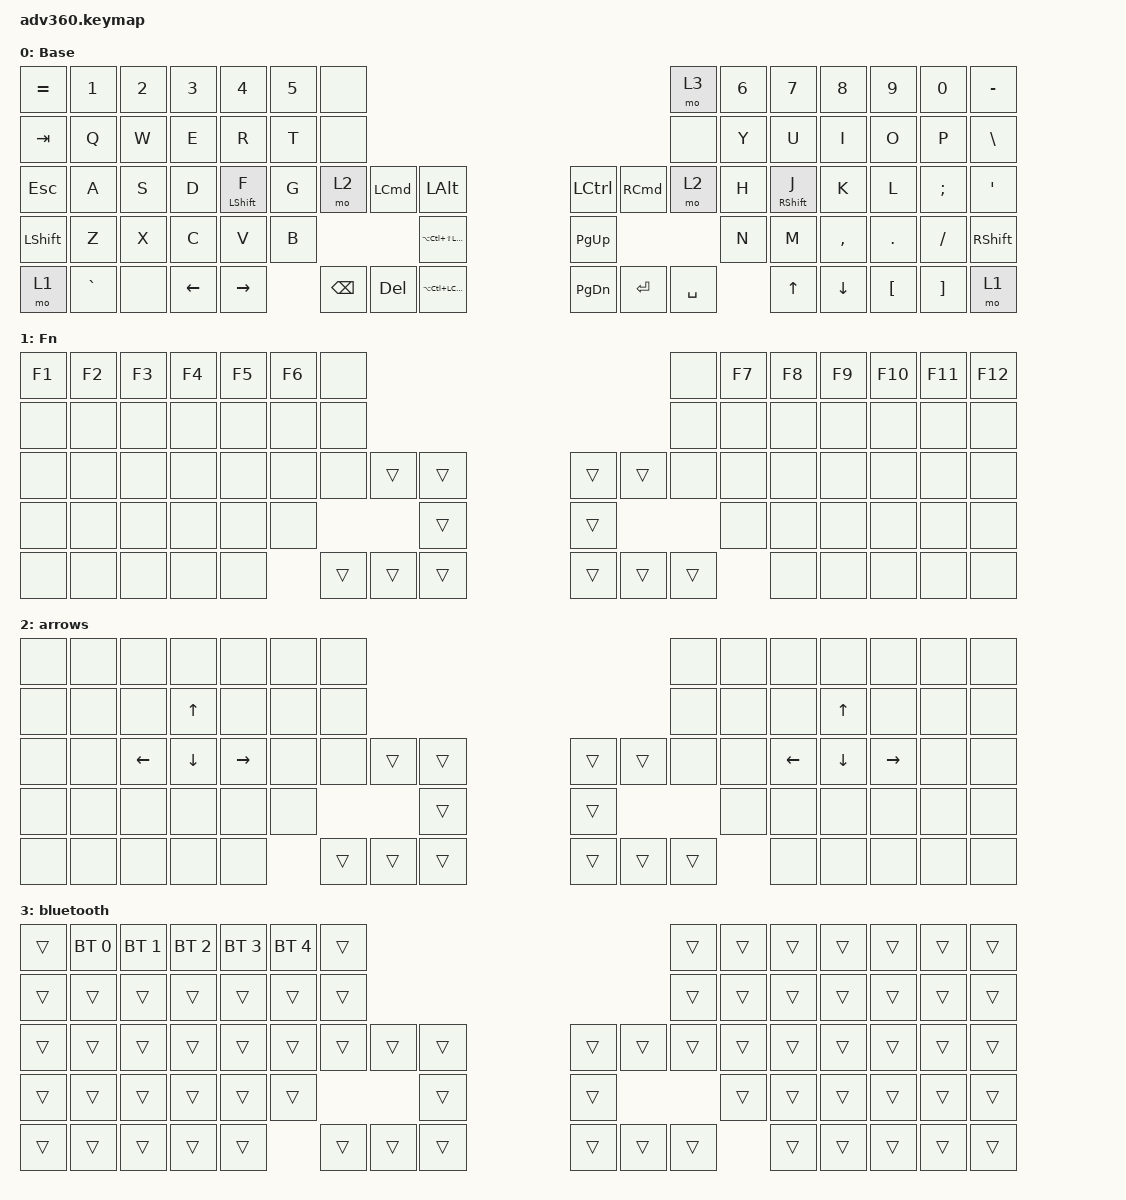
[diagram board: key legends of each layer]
#include <dt-bindings/zmk/stp.h>
#include <behaviors.dtsi>
#include <dt-bindings/zmk/bt.h>
#include <dt-bindings/zmk/keys.h>

/ {
    behaviors {
        #include "macros.dtsi"
      #include "version.dtsi"

        hm: homerow_mods {
            compatible = "zmk,behavior-hold-tap";
            label = "HOMEROW_MODS";
            #binding-cells = <2>;
            tapping-term-ms = <200>;
            quick_tap_ms = <175>;
            flavor = "tap-preferred";
            bindings = <&kp>, <&kp>;
        };
    };

    keymap {
        compatible = "zmk,keymap";

        normal {
            display-name = "Base";
            bindings = <
&kp EQUAL  &kp N1     &kp N2  &kp N3    &kp N4            &kp N5  &none                                                                                          &mo 3      &kp N6  &kp N7             &kp N8     &kp N9    &kp N0    &kp MINUS
&kp TAB    &kp Q      &kp W   &kp E     &kp R             &kp T   &none                                                                                          &none      &kp Y   &kp U              &kp I      &kp O     &kp P     &kp BSLH
&kp ESC    &kp A      &kp S   &kp D     &hm LEFT_SHIFT F  &kp G   &mo 2     &kp LEFT_COMMAND  &kp LALT                      &kp LEFT_CONTROL  &kp RIGHT_COMMAND  &mo 2      &kp H   &hm RIGHT_SHIFT J  &kp K      &kp L     &kp SEMI  &kp SQT
&kp LSHFT  &kp Z      &kp X   &kp C     &kp V             &kp B                               &kp LA(LC(LS(LEFT_GUI)))      &kp PG_UP                                       &kp N   &kp M              &kp COMMA  &kp DOT   &kp FSLH  &kp RSHFT
&mo 1      &kp GRAVE  &none   &kp LEFT  &kp RIGHT                 &kp BSPC  &kp DEL           &kp LA(LC(LEFT_COMMAND))      &kp PG_DN         &kp ENTER          &kp SPACE          &kp UP             &kp DOWN   &kp LBKT  &kp RBKT  &mo 1
            >;
        };

        fn {
            display-name = "Fn";
            bindings = <
&kp F1  &kp F2  &kp F3  &kp F4  &kp F5  &kp F6  &none                                       &none   &kp F7  &kp F8  &kp F9  &kp F10  &kp F11  &kp F12
&none   &none   &none   &none   &none   &none   &none                                       &none   &none   &none   &none   &none    &none    &none
&none   &none   &none   &none   &none   &none   &none   &trans  &trans      &trans  &trans  &none   &none   &none   &none   &none    &none    &none
&none   &none   &none   &none   &none   &none                   &trans      &trans                  &none   &none   &none   &none    &none    &none
&none   &none   &none   &none   &none           &trans  &trans  &trans      &trans  &trans  &trans          &none   &none   &none    &none    &none
            >;
        };

        arrows {
            bindings = <
&none  &none  &none           &none           &none            &none  &none                                       &none   &none  &none           &none           &none            &none  &none
&none  &none  &none           &kp UP_ARROW    &none            &none  &none                                       &none   &none  &none           &kp UP_ARROW    &none            &none  &none
&none  &none  &kp LEFT_ARROW  &kp DOWN_ARROW  &kp RIGHT_ARROW  &none  &none   &trans  &trans      &trans  &trans  &none   &none  &kp LEFT_ARROW  &kp DOWN_ARROW  &kp RIGHT_ARROW  &none  &none
&none  &none  &none           &none           &none            &none                  &trans      &trans                  &none  &none           &none           &none            &none  &none
&none  &none  &none           &none           &none                   &trans  &trans  &trans      &trans  &trans  &trans         &none           &none           &none            &none  &none
            >;
        };

        bluetooth {
            bindings = <
&trans  &bt BT_SEL 0  &bt BT_SEL 1  &bt BT_SEL 2  &bt BT_SEL 3  &bt BT_SEL 4  &trans                                      &trans  &trans  &trans  &trans  &trans  &trans  &trans
&trans  &trans        &trans        &trans        &trans        &trans        &trans                                      &trans  &trans  &trans  &trans  &trans  &trans  &trans
&trans  &trans        &trans        &trans        &trans        &trans        &trans  &trans  &trans      &trans  &trans  &trans  &trans  &trans  &trans  &trans  &trans  &trans
&trans  &trans        &trans        &trans        &trans        &trans                        &trans      &trans                  &trans  &trans  &trans  &trans  &trans  &trans
&trans  &trans        &trans        &trans        &trans                      &trans  &trans  &trans      &trans  &trans  &trans          &trans  &trans  &trans  &trans  &trans
            >;
        };
    };
};
